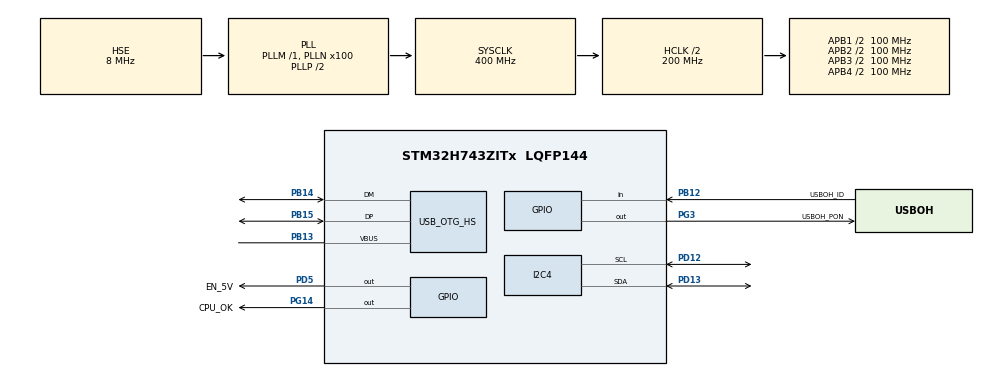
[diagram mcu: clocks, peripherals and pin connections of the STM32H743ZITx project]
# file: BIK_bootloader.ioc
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FATFS._CODE_PAGE=855
I2C4.Timing=0x10C0ECFF
Mcu.Family=STM32H7
Mcu.Name=STM32H743ZITx
Mcu.Package=LQFP144
NVIC.OTG_HS_IRQn=true\:0\:0\:false\:false\:true\:false\:true
NVIC.PriorityGroup=NVIC_PRIORITYGROUP_4
PA13\ (JTMS/SWDIO).Mode=Serial_Wire
PA13\ (JTMS/SWDIO).Signal=DEBUG_JTMS-SWDIO
PA14\ (JTCK/SWCLK).Mode=Serial_Wire
PA14\ (JTCK/SWCLK).Signal=DEBUG_JTCK-SWCLK
PB12.GPIO_Label=USBOH_ID
PB12.GPIO_PuPd=GPIO_PULLUP
PB12.Signal=GPIO_Input
PB13.Mode=Activate_VBUS_FS
PB13.Signal=USB_OTG_HS_VBUS
PB14.GPIO_Speed=GPIO_SPEED_FREQ_VERY_HIGH
PB14.Mode=Host_FS
PB14.Signal=USB_OTG_HS_DM
PB15.GPIO_Speed=GPIO_SPEED_FREQ_VERY_HIGH
PB15.Mode=Host_FS
PB15.Signal=USB_OTG_HS_DP
PD12.Mode=I2C
PD12.Signal=I2C4_SCL
PD13.Mode=I2C
PD13.Signal=I2C4_SDA
PD5.GPIO_Label=EN_5V
PD5.Signal=GPIO_Output
PG14.GPIO_Label=CPU_OK
PG14.PinState=GPIO_PIN_SET
PG14.Signal=GPIO_Output
PG3.GPIO_Label=USBOH_PON
PG3.Signal=GPIO_Output
PH0-OSC_IN\ (PH0).Mode=HSE-External-Oscillator
PH0-OSC_IN\ (PH0).Signal=RCC_OSC_IN
PH1-OSC_OUT\ (PH1).Mode=HSE-External-Oscillator
PH1-OSC_OUT\ (PH1).Signal=RCC_OSC_OUT
ProjectManager.HeapSize=0x200
ProjectManager.StackSize=0x400
ProjectManager.TargetToolchain=STM32CubeIDE
RCC.ADCFreq_Value=180000000
RCC.APB1Freq_Value=100000000
RCC.APB2Freq_Value=100000000
RCC.APB3Freq_Value=100000000
RCC.APB4Freq_Value=100000000
RCC.CortexFreq_Value=400000000
RCC.D1PPRE=RCC_APB3_DIV2
RCC.D2PPRE1=RCC_APB1_DIV2
RCC.D2PPRE2=RCC_APB2_DIV2
RCC.D3PPRE=RCC_APB4_DIV2
RCC.DIVM1=1
RCC.DIVM2=1
RCC.DIVM3=1
RCC.DIVN1=100
RCC.DIVN2=45
RCC.DIVN3=24
RCC.DIVP3=4
RCC.DIVQ1=4
RCC.DIVQ2=4
RCC.DIVQ3=3
RCC.DIVR2=4
RCC.DIVR3=6
RCC.FDCANCLockSelection=RCC_FDCANCLKSOURCE_HSE
RCC.HCLKFreq_Value=200000000
RCC.HPRE=RCC_HCLK_DIV2
RCC.HSE_VALUE=8000000
RCC.PLLSourceVirtual=RCC_PLLSOURCE_HSE
RCC.RTCClockSelection=RCC_RTCCLKSOURCE_LSE
RCC.SPI123CLockSelection=RCC_SPI123CLKSOURCE_PLL2
RCC.SYSCLKFreq_VALUE=400000000
RCC.SYSCLKSource=RCC_SYSCLKSOURCE_PLLCLK
RCC.USBCLockSelection=RCC_USBCLKSOURCE_HSI48
RCC.USBFreq_Value=48000000
USB_HOST.BSP.number=1
USB_HOST.USBH_HandleTypeDef-MSC_HS=hUsbHostHS
USB_HOST.USBH_PROCESS_STACK_SIZE-MSC_HS=1024
USB_HOST.VirtualModeHS=Msc
USB_HOST0.BSP.STBoard=false
USB_HOST0.BSP.api=Unknown
USB_HOST0.BSP.i2caddr=0
USB_HOST0.BSP.instance=PG3
USB_HOST0.BSP.ip=GPIO
USB_HOST0.BSP.mode=Output
USB_HOST0.BSP.name=Drive_VBUS_HS
USB_HOST0.BSP.solution=PG3
USB_OTG_HS.VirtualMode-Host_FS=Host_FS
VP_FATFS_VS_USB.Mode=USB
VP_USB_HOST_VS_USB_HOST_MSC_HS.Mode=MSC_HS
board=custom

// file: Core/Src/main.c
/* USER CODE BEGIN Header */
/**
  ******************************************************************************
  * @file           : main.c
  * @brief          : Main program body
  ******************************************************************************
  * @attention
  *
  * <h2><center>&copy; Copyright (c) 2020 STMicroelectronics.
  * All rights reserved.</center></h2>
  *
  * This software component is licensed by ST under Ultimate Liberty license
  * SLA0044, the "License"; You may not use this file except in compliance with
  * the License. You may obtain a copy of the License at:
  *                             www.st.com/SLA0044
  *
  ******************************************************************************
  */
/* USER CODE END Header */
#include "main.h"
#include "fatfs.h"
#include "usb_host.h"

/* USER CODE BEGIN Includes */
#include "boot.h"
/* USER CODE END Includes */

/* USER CODE BEGIN PTD */
__IO uint16_t timer_wait = 2500;
extern ApplicationTypeDef Appli_state;
/* USER CODE END PTD */

I2C_HandleTypeDef hi2c4;

void SystemClock_Config(void);
static void MX_GPIO_Init(void);
static void MX_I2C4_Init(void);
void MX_USB_HOST_Process(void);

int main(void)
{

  /* MCU Configuration--------------------------------------------------------*/

  /* Reset of all peripherals, Initializes the Flash interface and the Systick. */
  HAL_Init();

  /* Configure the system clock */
  SystemClock_Config();

  /* USER CODE BEGIN SysInit */
#if 0
  /* USER CODE END SysInit */

  /* Initialize all configured peripherals */
  MX_GPIO_Init();
  MX_FATFS_Init();
  MX_USB_HOST_Init();
  MX_I2C4_Init();
  /* USER CODE BEGIN 2 */
#endif

  MX_GPIO_Init();
  MX_I2C4_Init();
  //if usb cable isn't connected, jump to main program
  if(USBOH_ID_GPIO_Port->IDR & USBOH_ID_Pin)
    GoToUserApp();

  EN_5V_GPIO_Port->BSRR |= EN_5V_Pin;   //USB, Audio, LED, LTDC LED
  HAL_Delay(5);
  LED_TLC59116IR_config();
  MX_USB_HOST_Init();
  /* USER CODE END 2 */

  /* Infinite loop */
  while (1)
  {
    MX_USB_HOST_Process();

    /* USER CODE BEGIN 3 */
    if(Appli_state == APPLICATION_READY) {
      firmware_write();
      MX_USB_HOST_DeInit();
      GoToUserApp();
    }

    if(!timer_wait) {
      MX_USB_HOST_DeInit();
      GoToUserApp();
    }

  }
  /* USER CODE END 3 */
}

void SystemClock_Config(void)
{
  RCC_OscInitTypeDef RCC_OscInitStruct = {0};
  RCC_ClkInitTypeDef RCC_ClkInitStruct = {0};

  /** Supply configuration update enable
  */
  HAL_PWREx_ConfigSupply(PWR_LDO_SUPPLY);
  /** Configure the main internal regulator output voltage
  */
  __HAL_PWR_VOLTAGESCALING_CONFIG(PWR_REGULATOR_VOLTAGE_SCALE1);

  while(!__HAL_PWR_GET_FLAG(PWR_FLAG_VOSRDY)) {}
  /** Initializes the RCC Oscillators according to the specified parameters
  * in the RCC_OscInitTypeDef structure.
  */
  RCC_OscInitStruct.OscillatorType = RCC_OSCILLATORTYPE_HSI48|RCC_OSCILLATORTYPE_HSE;
  RCC_OscInitStruct.HSEState = RCC_HSE_ON;
  RCC_OscInitStruct.HSI48State = RCC_HSI48_ON;
  RCC_OscInitStruct.PLL.PLLState = RCC_PLL_ON;
  RCC_OscInitStruct.PLL.PLLSource = RCC_PLLSOURCE_HSE;
  RCC_OscInitStruct.PLL.PLLM = 1;
  RCC_OscInitStruct.PLL.PLLN = 100;
  RCC_OscInitStruct.PLL.PLLP = 2;
  RCC_OscInitStruct.PLL.PLLQ = 4;
  RCC_OscInitStruct.PLL.PLLR = 2;
  RCC_OscInitStruct.PLL.PLLRGE = RCC_PLL1VCIRANGE_3;
  RCC_OscInitStruct.PLL.PLLVCOSEL = RCC_PLL1VCOWIDE;
  RCC_OscInitStruct.PLL.PLLFRACN = 0;
  if (HAL_RCC_OscConfig(&RCC_OscInitStruct) != HAL_OK)
  {
    Error_Handler();
  }
  /** Initializes the CPU, AHB and APB buses clocks
  */
  RCC_ClkInitStruct.ClockType = RCC_CLOCKTYPE_HCLK|RCC_CLOCKTYPE_SYSCLK
                              |RCC_CLOCKTYPE_PCLK1|RCC_CLOCKTYPE_PCLK2
                              |RCC_CLOCKTYPE_D3PCLK1|RCC_CLOCKTYPE_D1PCLK1;
  RCC_ClkInitStruct.SYSCLKSource = RCC_SYSCLKSOURCE_PLLCLK;
  RCC_ClkInitStruct.SYSCLKDivider = RCC_SYSCLK_DIV1;
  RCC_ClkInitStruct.AHBCLKDivider = RCC_HCLK_DIV2;
  RCC_ClkInitStruct.APB3CLKDivider = RCC_APB3_DIV2;
  RCC_ClkInitStruct.APB1CLKDivider = RCC_APB1_DIV2;
  RCC_ClkInitStruct.APB2CLKDivider = RCC_APB2_DIV2;
  RCC_ClkInitStruct.APB4CLKDivider = RCC_APB4_DIV2;

  if (HAL_RCC_ClockConfig(&RCC_ClkInitStruct, FLASH_LATENCY_2) != HAL_OK)
  {
    Error_Handler();
  }
}

static void MX_I2C4_Init(void)
{

  hi2c4.Instance = I2C4;
  hi2c4.Init.Timing = 0x10C0ECFF;
  hi2c4.Init.OwnAddress1 = 0;
  hi2c4.Init.AddressingMode = I2C_ADDRESSINGMODE_7BIT;
  hi2c4.Init.DualAddressMode = I2C_DUALADDRESS_DISABLE;
  hi2c4.Init.OwnAddress2 = 0;
  hi2c4.Init.OwnAddress2Masks = I2C_OA2_NOMASK;
  hi2c4.Init.GeneralCallMode = I2C_GENERALCALL_DISABLE;
  hi2c4.Init.NoStretchMode = I2C_NOSTRETCH_DISABLE;
  if (HAL_I2C_Init(&hi2c4) != HAL_OK)
  {
    Error_Handler();
  }
  /** Configure Analogue filter
  */
  if (HAL_I2CEx_ConfigAnalogFilter(&hi2c4, I2C_ANALOGFILTER_ENABLE) != HAL_OK)
  {
    Error_Handler();
  }
  /** Configure Digital filter
  */
  if (HAL_I2CEx_ConfigDigitalFilter(&hi2c4, 0) != HAL_OK)
  {
    Error_Handler();
  }

}

static void MX_GPIO_Init(void)
{
  GPIO_InitTypeDef GPIO_InitStruct = {0};

  /* GPIO Ports Clock Enable */
  __HAL_RCC_GPIOH_CLK_ENABLE();
  __HAL_RCC_GPIOB_CLK_ENABLE();
  __HAL_RCC_GPIOD_CLK_ENABLE();
  __HAL_RCC_GPIOG_CLK_ENABLE();
  __HAL_RCC_GPIOA_CLK_ENABLE();

  /*Configure GPIO pin Output Level */
  HAL_GPIO_WritePin(USBOH_PON_GPIO_Port, USBOH_PON_Pin, GPIO_PIN_RESET);

  /*Configure GPIO pin Output Level */
  HAL_GPIO_WritePin(EN_5V_GPIO_Port, EN_5V_Pin, GPIO_PIN_RESET);

  /*Configure GPIO pin Output Level */
  HAL_GPIO_WritePin(CPU_OK_GPIO_Port, CPU_OK_Pin, GPIO_PIN_SET);

  /*Configure GPIO pin : USBOH_ID_Pin */
  GPIO_InitStruct.Pin = USBOH_ID_Pin;
  GPIO_InitStruct.Mode = GPIO_MODE_INPUT;
  GPIO_InitStruct.Pull = GPIO_PULLUP;
  HAL_GPIO_Init(USBOH_ID_GPIO_Port, &GPIO_InitStruct);

  /*Configure GPIO pins : USBOH_PON_Pin CPU_OK_Pin */
  GPIO_InitStruct.Pin = USBOH_PON_Pin|CPU_OK_Pin;
  GPIO_InitStruct.Mode = GPIO_MODE_OUTPUT_PP;
  GPIO_InitStruct.Pull = GPIO_NOPULL;
  GPIO_InitStruct.Speed = GPIO_SPEED_FREQ_LOW;
  HAL_GPIO_Init(GPIOG, &GPIO_InitStruct);

  /*Configure GPIO pin : EN_5V_Pin */
  GPIO_InitStruct.Pin = EN_5V_Pin;
  GPIO_InitStruct.Mode = GPIO_MODE_OUTPUT_PP;
  GPIO_InitStruct.Pull = GPIO_NOPULL;
  GPIO_InitStruct.Speed = GPIO_SPEED_FREQ_LOW;
  HAL_GPIO_Init(EN_5V_GPIO_Port, &GPIO_InitStruct);

}

void Error_Handler(void)
{
  __disable_irq();
  while (1)
  {
  }
}

/************************ (C) COPYRIGHT STMicroelectronics *****END OF FILE****/
